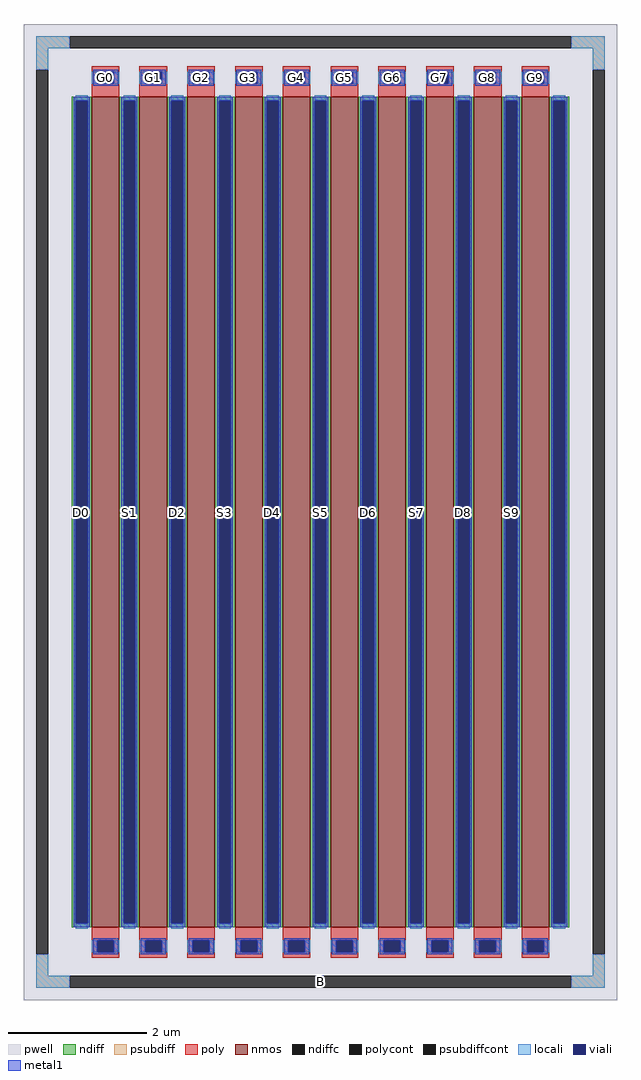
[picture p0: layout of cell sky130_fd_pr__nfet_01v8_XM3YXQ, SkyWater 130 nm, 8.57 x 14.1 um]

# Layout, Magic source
magic
tech sky130A
magscale 1 2
<< pwell >>
rect -857 -1410 857 1410
<< nmos >>
rect -661 -1200 -581 1200
rect -523 -1200 -443 1200
rect -385 -1200 -305 1200
rect -247 -1200 -167 1200
rect -109 -1200 -29 1200
rect 29 -1200 109 1200
rect 167 -1200 247 1200
rect 305 -1200 385 1200
rect 443 -1200 523 1200
rect 581 -1200 661 1200
<< ndiff >>
rect -719 1188 -661 1200
rect -719 -1188 -707 1188
rect -673 -1188 -661 1188
rect -719 -1200 -661 -1188
rect -581 1188 -523 1200
rect -581 -1188 -569 1188
rect -535 -1188 -523 1188
rect -581 -1200 -523 -1188
rect -443 1188 -385 1200
rect -443 -1188 -431 1188
rect -397 -1188 -385 1188
rect -443 -1200 -385 -1188
rect -305 1188 -247 1200
rect -305 -1188 -293 1188
rect -259 -1188 -247 1188
rect -305 -1200 -247 -1188
rect -167 1188 -109 1200
rect -167 -1188 -155 1188
rect -121 -1188 -109 1188
rect -167 -1200 -109 -1188
rect -29 1188 29 1200
rect -29 -1188 -17 1188
rect 17 -1188 29 1188
rect -29 -1200 29 -1188
rect 109 1188 167 1200
rect 109 -1188 121 1188
rect 155 -1188 167 1188
rect 109 -1200 167 -1188
rect 247 1188 305 1200
rect 247 -1188 259 1188
rect 293 -1188 305 1188
rect 247 -1200 305 -1188
rect 385 1188 443 1200
rect 385 -1188 397 1188
rect 431 -1188 443 1188
rect 385 -1200 443 -1188
rect 523 1188 581 1200
rect 523 -1188 535 1188
rect 569 -1188 581 1188
rect 523 -1200 581 -1188
rect 661 1188 719 1200
rect 661 -1188 673 1188
rect 707 -1188 719 1188
rect 661 -1200 719 -1188
<< ndiffc >>
rect -707 -1188 -673 1188
rect -569 -1188 -535 1188
rect -431 -1188 -397 1188
rect -293 -1188 -259 1188
rect -155 -1188 -121 1188
rect -17 -1188 17 1188
rect 121 -1188 155 1188
rect 259 -1188 293 1188
rect 397 -1188 431 1188
rect 535 -1188 569 1188
rect 673 -1188 707 1188
<< psubdiff >>
rect -821 1340 -725 1374
rect 725 1340 821 1374
rect -821 1278 -787 1340
rect 787 1278 821 1340
rect -821 -1340 -787 -1278
rect 787 -1340 821 -1278
rect -821 -1374 -725 -1340
rect 725 -1374 821 -1340
<< psubdiffcont >>
rect -725 1340 725 1374
rect -821 -1278 -787 1278
rect 787 -1278 821 1278
rect -725 -1374 725 -1340
<< poly >>
rect -661 1272 -581 1288
rect -661 1238 -645 1272
rect -597 1238 -581 1272
rect -661 1200 -581 1238
rect -523 1272 -443 1288
rect -523 1238 -507 1272
rect -459 1238 -443 1272
rect -523 1200 -443 1238
rect -385 1272 -305 1288
rect -385 1238 -369 1272
rect -321 1238 -305 1272
rect -385 1200 -305 1238
rect -247 1272 -167 1288
rect -247 1238 -231 1272
rect -183 1238 -167 1272
rect -247 1200 -167 1238
rect -109 1272 -29 1288
rect -109 1238 -93 1272
rect -45 1238 -29 1272
rect -109 1200 -29 1238
rect 29 1272 109 1288
rect 29 1238 45 1272
rect 93 1238 109 1272
rect 29 1200 109 1238
rect 167 1272 247 1288
rect 167 1238 183 1272
rect 231 1238 247 1272
rect 167 1200 247 1238
rect 305 1272 385 1288
rect 305 1238 321 1272
rect 369 1238 385 1272
rect 305 1200 385 1238
rect 443 1272 523 1288
rect 443 1238 459 1272
rect 507 1238 523 1272
rect 443 1200 523 1238
rect 581 1272 661 1288
rect 581 1238 597 1272
rect 645 1238 661 1272
rect 581 1200 661 1238
rect -661 -1238 -581 -1200
rect -661 -1272 -645 -1238
rect -597 -1272 -581 -1238
rect -661 -1288 -581 -1272
rect -523 -1238 -443 -1200
rect -523 -1272 -507 -1238
rect -459 -1272 -443 -1238
rect -523 -1288 -443 -1272
rect -385 -1238 -305 -1200
rect -385 -1272 -369 -1238
rect -321 -1272 -305 -1238
rect -385 -1288 -305 -1272
rect -247 -1238 -167 -1200
rect -247 -1272 -231 -1238
rect -183 -1272 -167 -1238
rect -247 -1288 -167 -1272
rect -109 -1238 -29 -1200
rect -109 -1272 -93 -1238
rect -45 -1272 -29 -1238
rect -109 -1288 -29 -1272
rect 29 -1238 109 -1200
rect 29 -1272 45 -1238
rect 93 -1272 109 -1238
rect 29 -1288 109 -1272
rect 167 -1238 247 -1200
rect 167 -1272 183 -1238
rect 231 -1272 247 -1238
rect 167 -1288 247 -1272
rect 305 -1238 385 -1200
rect 305 -1272 321 -1238
rect 369 -1272 385 -1238
rect 305 -1288 385 -1272
rect 443 -1238 523 -1200
rect 443 -1272 459 -1238
rect 507 -1272 523 -1238
rect 443 -1288 523 -1272
rect 581 -1238 661 -1200
rect 581 -1272 597 -1238
rect 645 -1272 661 -1238
rect 581 -1288 661 -1272
<< polycont >>
rect -645 1238 -597 1272
rect -507 1238 -459 1272
rect -369 1238 -321 1272
rect -231 1238 -183 1272
rect -93 1238 -45 1272
rect 45 1238 93 1272
rect 183 1238 231 1272
rect 321 1238 369 1272
rect 459 1238 507 1272
rect 597 1238 645 1272
rect -645 -1272 -597 -1238
rect -507 -1272 -459 -1238
rect -369 -1272 -321 -1238
rect -231 -1272 -183 -1238
rect -93 -1272 -45 -1238
rect 45 -1272 93 -1238
rect 183 -1272 231 -1238
rect 321 -1272 369 -1238
rect 459 -1272 507 -1238
rect 597 -1272 645 -1238
<< locali >>
rect -821 1340 -725 1374
rect 725 1340 821 1374
rect -821 1278 -787 1340
rect 787 1278 821 1340
rect -661 1238 -645 1272
rect -597 1238 -581 1272
rect -523 1238 -507 1272
rect -459 1238 -443 1272
rect -385 1238 -369 1272
rect -321 1238 -305 1272
rect -247 1238 -231 1272
rect -183 1238 -167 1272
rect -109 1238 -93 1272
rect -45 1238 -29 1272
rect 29 1238 45 1272
rect 93 1238 109 1272
rect 167 1238 183 1272
rect 231 1238 247 1272
rect 305 1238 321 1272
rect 369 1238 385 1272
rect 443 1238 459 1272
rect 507 1238 523 1272
rect 581 1238 597 1272
rect 645 1238 661 1272
rect -707 1188 -673 1204
rect -707 -1204 -673 -1188
rect -569 1188 -535 1204
rect -569 -1204 -535 -1188
rect -431 1188 -397 1204
rect -431 -1204 -397 -1188
rect -293 1188 -259 1204
rect -293 -1204 -259 -1188
rect -155 1188 -121 1204
rect -155 -1204 -121 -1188
rect -17 1188 17 1204
rect -17 -1204 17 -1188
rect 121 1188 155 1204
rect 121 -1204 155 -1188
rect 259 1188 293 1204
rect 259 -1204 293 -1188
rect 397 1188 431 1204
rect 397 -1204 431 -1188
rect 535 1188 569 1204
rect 535 -1204 569 -1188
rect 673 1188 707 1204
rect 673 -1204 707 -1188
rect -661 -1272 -645 -1238
rect -597 -1272 -581 -1238
rect -523 -1272 -507 -1238
rect -459 -1272 -443 -1238
rect -385 -1272 -369 -1238
rect -321 -1272 -305 -1238
rect -247 -1272 -231 -1238
rect -183 -1272 -167 -1238
rect -109 -1272 -93 -1238
rect -45 -1272 -29 -1238
rect 29 -1272 45 -1238
rect 93 -1272 109 -1238
rect 167 -1272 183 -1238
rect 231 -1272 247 -1238
rect 305 -1272 321 -1238
rect 369 -1272 385 -1238
rect 443 -1272 459 -1238
rect 507 -1272 523 -1238
rect 581 -1272 597 -1238
rect 645 -1272 661 -1238
rect -821 -1340 -787 -1278
rect 787 -1340 821 -1278
rect -821 -1374 -725 -1340
rect 725 -1374 821 -1340
<< viali >>
rect -645 1238 -597 1272
rect -507 1238 -459 1272
rect -369 1238 -321 1272
rect -231 1238 -183 1272
rect -93 1238 -45 1272
rect 45 1238 93 1272
rect 183 1238 231 1272
rect 321 1238 369 1272
rect 459 1238 507 1272
rect 597 1238 645 1272
rect -707 -1188 -673 1188
rect -569 -1188 -535 1188
rect -431 -1188 -397 1188
rect -293 -1188 -259 1188
rect -155 -1188 -121 1188
rect -17 -1188 17 1188
rect 121 -1188 155 1188
rect 259 -1188 293 1188
rect 397 -1188 431 1188
rect 535 -1188 569 1188
rect 673 -1188 707 1188
rect -645 -1272 -597 -1238
rect -507 -1272 -459 -1238
rect -369 -1272 -321 -1238
rect -231 -1272 -183 -1238
rect -93 -1272 -45 -1238
rect 45 -1272 93 -1238
rect 183 -1272 231 -1238
rect 321 -1272 369 -1238
rect 459 -1272 507 -1238
rect 597 -1272 645 -1238
<< metal1 >>
rect -657 1272 -585 1278
rect -657 1238 -645 1272
rect -597 1238 -585 1272
rect -657 1232 -585 1238
rect -519 1272 -447 1278
rect -519 1238 -507 1272
rect -459 1238 -447 1272
rect -519 1232 -447 1238
rect -381 1272 -309 1278
rect -381 1238 -369 1272
rect -321 1238 -309 1272
rect -381 1232 -309 1238
rect -243 1272 -171 1278
rect -243 1238 -231 1272
rect -183 1238 -171 1272
rect -243 1232 -171 1238
rect -105 1272 -33 1278
rect -105 1238 -93 1272
rect -45 1238 -33 1272
rect -105 1232 -33 1238
rect 33 1272 105 1278
rect 33 1238 45 1272
rect 93 1238 105 1272
rect 33 1232 105 1238
rect 171 1272 243 1278
rect 171 1238 183 1272
rect 231 1238 243 1272
rect 171 1232 243 1238
rect 309 1272 381 1278
rect 309 1238 321 1272
rect 369 1238 381 1272
rect 309 1232 381 1238
rect 447 1272 519 1278
rect 447 1238 459 1272
rect 507 1238 519 1272
rect 447 1232 519 1238
rect 585 1272 657 1278
rect 585 1238 597 1272
rect 645 1238 657 1272
rect 585 1232 657 1238
rect -713 1188 -667 1200
rect -713 -1188 -707 1188
rect -673 -1188 -667 1188
rect -713 -1200 -667 -1188
rect -575 1188 -529 1200
rect -575 -1188 -569 1188
rect -535 -1188 -529 1188
rect -575 -1200 -529 -1188
rect -437 1188 -391 1200
rect -437 -1188 -431 1188
rect -397 -1188 -391 1188
rect -437 -1200 -391 -1188
rect -299 1188 -253 1200
rect -299 -1188 -293 1188
rect -259 -1188 -253 1188
rect -299 -1200 -253 -1188
rect -161 1188 -115 1200
rect -161 -1188 -155 1188
rect -121 -1188 -115 1188
rect -161 -1200 -115 -1188
rect -23 1188 23 1200
rect -23 -1188 -17 1188
rect 17 -1188 23 1188
rect -23 -1200 23 -1188
rect 115 1188 161 1200
rect 115 -1188 121 1188
rect 155 -1188 161 1188
rect 115 -1200 161 -1188
rect 253 1188 299 1200
rect 253 -1188 259 1188
rect 293 -1188 299 1188
rect 253 -1200 299 -1188
rect 391 1188 437 1200
rect 391 -1188 397 1188
rect 431 -1188 437 1188
rect 391 -1200 437 -1188
rect 529 1188 575 1200
rect 529 -1188 535 1188
rect 569 -1188 575 1188
rect 529 -1200 575 -1188
rect 667 1188 713 1200
rect 667 -1188 673 1188
rect 707 -1188 713 1188
rect 667 -1200 713 -1188
rect -657 -1238 -585 -1232
rect -657 -1272 -645 -1238
rect -597 -1272 -585 -1238
rect -657 -1278 -585 -1272
rect -519 -1238 -447 -1232
rect -519 -1272 -507 -1238
rect -459 -1272 -447 -1238
rect -519 -1278 -447 -1272
rect -381 -1238 -309 -1232
rect -381 -1272 -369 -1238
rect -321 -1272 -309 -1238
rect -381 -1278 -309 -1272
rect -243 -1238 -171 -1232
rect -243 -1272 -231 -1238
rect -183 -1272 -171 -1238
rect -243 -1278 -171 -1272
rect -105 -1238 -33 -1232
rect -105 -1272 -93 -1238
rect -45 -1272 -33 -1238
rect -105 -1278 -33 -1272
rect 33 -1238 105 -1232
rect 33 -1272 45 -1238
rect 93 -1272 105 -1238
rect 33 -1278 105 -1272
rect 171 -1238 243 -1232
rect 171 -1272 183 -1238
rect 231 -1272 243 -1238
rect 171 -1278 243 -1272
rect 309 -1238 381 -1232
rect 309 -1272 321 -1238
rect 369 -1272 381 -1238
rect 309 -1278 381 -1272
rect 447 -1238 519 -1232
rect 447 -1272 459 -1238
rect 507 -1272 519 -1238
rect 447 -1278 519 -1272
rect 585 -1238 657 -1232
rect 585 -1272 597 -1238
rect 645 -1272 657 -1238
rect 585 -1278 657 -1272
<< labels >>
rlabel psubdiffcont 0 -1357 0 -1357 0 B
port 106 nsew
rlabel ndiffc -690 0 -690 0 0 D0
port 107 nsew
rlabel polycont -621 1255 -621 1255 0 G0
port 108 nsew
rlabel ndiffc -552 0 -552 0 0 S1
port 109 nsew
rlabel polycont -483 1255 -483 1255 0 G1
port 110 nsew
rlabel ndiffc -414 0 -414 0 0 D2
port 111 nsew
rlabel polycont -345 1255 -345 1255 0 G2
port 112 nsew
rlabel ndiffc -276 0 -276 0 0 S3
port 113 nsew
rlabel polycont -207 1255 -207 1255 0 G3
port 114 nsew
rlabel ndiffc -138 0 -138 0 0 D4
port 115 nsew
rlabel polycont -69 1255 -69 1255 0 G4
port 116 nsew
rlabel ndiffc 0 0 0 0 0 S5
port 117 nsew
rlabel polycont 69 1255 69 1255 0 G5
port 118 nsew
rlabel ndiffc 138 0 138 0 0 D6
port 119 nsew
rlabel polycont 207 1255 207 1255 0 G6
port 120 nsew
rlabel ndiffc 276 0 276 0 0 S7
port 121 nsew
rlabel polycont 345 1255 345 1255 0 G7
port 122 nsew
rlabel ndiffc 414 0 414 0 0 D8
port 123 nsew
rlabel polycont 483 1255 483 1255 0 G8
port 124 nsew
rlabel ndiffc 552 0 552 0 0 S9
port 125 nsew
rlabel polycont 621 1255 621 1255 0 G9
port 126 nsew
<< properties >>
string FIXED_BBOX -804 -1357 804 1357
string gencell sky130_fd_pr__nfet_01v8
string library sky130
string parameters w 12.0 l 0.4 m 1 nf 10 diffcov 100 polycov 100 guard 1 glc 1 grc 1 gtc 1 gbc 1 tbcov 100 rlcov 100 topc 1 botc 1 poverlap 0 doverlap 1 lmin 0.15 wmin 0.42 class mosfet compatible {sky130_fd_pr__nfet_01v8 sky130_fd_pr__nfet_01v8_lvt  sky130_fd_bs_flash__special_sonosfet_star  sky130_fd_pr__nfet_g5v0d10v5 sky130_fd_pr__nfet_05v0_nvt  sky130_fd_pr__nfet_03v3_nvt} full_metal 1 conn_gates 0 viasrc 100 viadrn 100 viagate 100 viagb 0 viagr 0 viagl 0 viagt 0 doports 1
<< end >>
